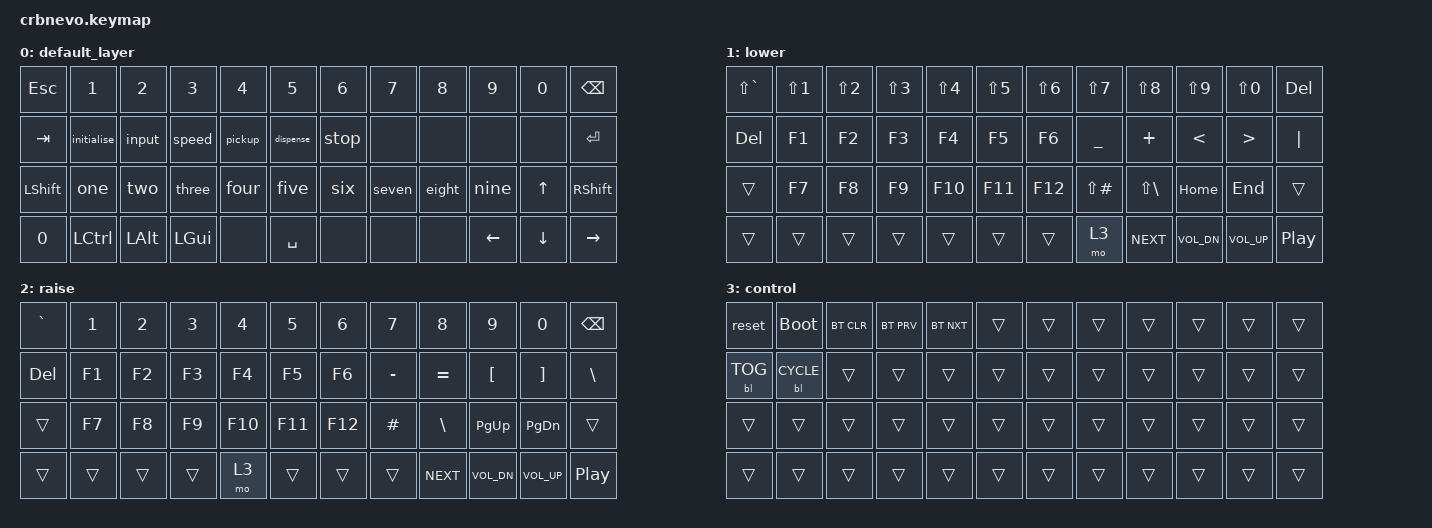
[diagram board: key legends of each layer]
/*
 * Copyright (c) 2020 The ZMK Contributors
 *
 * SPDX-License-Identifier: MIT
 */

#include <behaviors.dtsi>
#include <dt-bindings/zmk/keys.h>
#include <dt-bindings/zmk/bt.h>
#include <dt-bindings/zmk/backlight.h>

/ {
    macros {
        initialise: initialise {
            compatible = "zmk,behavior-macro";
            label = "new_macro";
            #binding-cells = <0>;
            bindings = <&kp I &kp N &kp I &kp T &kp I &kp A &kp L &kp I &kp S &kp E &kp ENTER>;
        };
        input: input {
            compatible = "zmk,behavior-macro";
            label = "new_macro1";
            #binding-cells = <0>;
            bindings = <&kp I &kp N &kp P &kp U &kp T &kp ENTER>;
        };
        speed: speed {
            compatible = "zmk,behavior-macro";
            label = "new_macro2";
            #binding-cells = <0>;
            bindings = <&kp S &kp P &kp E &kp E &kp D &kp ENTER>;
        };
        pickup: pickup {
            compatible = "zmk,behavior-macro";
            label = "new_macro3";
            #binding-cells = <0>;
            bindings = <&kp P &kp I &kp C &kp K &kp U &kp P &kp ENTER>;
        };
        dispense: dispense {
            compatible = "zmk,behavior-macro";
            label = "new_macro4";
            #binding-cells = <0>;
            bindings = <&kp D &kp I &kp S &kp P &kp E &kp N &kp S &kp E &kp ENTER>;
        };
        stop: stop {
            compatible = "zmk,behavior-macro";
            label = "new_macro5";
            #binding-cells = <0>;
            bindings = <&kp T &kp E &kp R &kp M &kp I &kp N &kp A &kp T &kp E &kp ENTER>;
        };
        zero: zero {
            compatible = "zmk,behavior-macro";
            label = "new_macro6";
            #binding-cells = <0>;
            bindings = <&kp NUMBER_0 &kp ENTER>;
        };
        one: one {
            compatible = "zmk,behavior-macro";
            label = "new_macro7";
            #binding-cells = <0>;
            bindings = <&kp NUMBER_1 &kp ENTER>;
        };
        two: two {
            compatible = "zmk,behavior-macro";
            label = "new_macro8";
            #binding-cells = <0>;
            bindings = <&kp NUMBER_2 &kp ENTER>;
        };
        three: three {
            compatible = "zmk,behavior-macro";
            label = "new_macro9";
            #binding-cells = <0>;
            bindings = <&kp NUMBER_3 &kp ENTER>;
        };
        four: four {
            compatible = "zmk,behavior-macro";
            label = "new_macro10";
            #binding-cells = <0>;
            bindings = <&kp NUMBER_4 &kp ENTER>;
        };
        five: five {
            compatible = "zmk,behavior-macro";
            label = "new_macro11";
            #binding-cells = <0>;
            bindings = <&kp NUMBER_5 &kp ENTER>;
        };
        six: six {
            compatible = "zmk,behavior-macro";
            label = "new_macro12";
            #binding-cells = <0>;
            bindings = <&kp NUMBER_6 &kp ENTER>;
        };
        seven: seven {
            compatible = "zmk,behavior-macro";
            label = "new_macro13";
            #binding-cells = <0>;
            bindings = <&kp NUMBER_7 &kp ENTER>;
        };
        eight: eight {
            compatible = "zmk,behavior-macro";
            label = "new_macro14";
            #binding-cells = <0>;
            bindings = <&kp NUMBER_8 &kp ENTER>;
        };
        nine: nine {
            compatible = "zmk,behavior-macro";
            label = "new_macro15";
            #binding-cells = <0>;
            bindings = <&kp NUMBER_9 &kp ENTER>;
        };
    };

    keymap {
        compatible = "zmk,keymap";

        default_layer {
            // -----------------------------------------------------------------------------------------
            // |  TAB  |  Q   |  W   |  E   |  R   |  T   |   Y   |  U    |  I   |  O   |   P   | BSPC  |
            // |  ESC  |  A   |  S   |  D   |  F   |  G   |   H   |  J    |  K   |  L   |   ;   |  '    |
            // | SHIFT |  Z   |  X   |  C   |  V   |  B   |   N   |  M    |  ,   |  .   |   /   |  RET  |
            // | FN    | LGUI | LALT | LCTL | LOWR |     SPACE    |  RAIS | LARW | DARW | UARW  |  RARW |

            bindings = <
  &kp ESC  &kp NUMBER_1  &kp NUMBER_2  &kp NUMBER_3  &kp NUMBER_4  &kp NUMBER_5  &kp NUMBER_6  &kp NUMBER_7  &kp NUMBER_8  &kp NUMBER_9  &kp NUMBER_0         &kp BSPC
  &kp TAB   &initialise        &input        &speed       &pickup     &dispense         &stop         &none         &none         &none         &none        &kp ENTER
&kp LSHFT          &one          &two        &three         &four         &five          &six        &seven        &eight         &nine        &kp UP  &kp RIGHT_SHIFT
    &kp 0     &kp LCTRL      &kp LALT      &kp LGUI         &none     &kp SPACE         &none         &none         &none      &kp LEFT      &kp DOWN        &kp RIGHT
            >;
        };

        lower {
            bindings = <
&kp LS(GRAVE)  &kp LS(N1)  &kp LS(N2)  &kp LS(N3)  &kp LS(N4)  &kp LS(N5)  &kp LS(N6)    &kp LS(N7)    &kp LS(N8)    &kp LS(N9)    &kp LS(N0)   &kp DEL
      &kp DEL      &kp F1      &kp F2      &kp F3      &kp F4      &kp F5      &kp F6     &kp UNDER      &kp PLUS        &kp LT        &kp GT  &kp PIPE
       &trans      &kp F7      &kp F8      &kp F9     &kp F10     &kp F11     &kp F12  &kp LS(HASH)  &kp LS(BSLH)      &kp HOME       &kp END    &trans
       &trans      &trans      &trans      &trans      &trans      &trans      &trans         &mo 3    &kp C_NEXT  &kp C_VOL_DN  &kp C_VOL_UP  &kp C_PP
            >;
        };

        raise {
            bindings = <
&kp GRAVE  &kp N1  &kp N2  &kp N3   &kp N4   &kp N5   &kp N6     &kp N7      &kp N8        &kp N9        &kp N0  &kp BSPC
  &kp DEL  &kp F1  &kp F2  &kp F3   &kp F4   &kp F5   &kp F6  &kp MINUS   &kp EQUAL      &kp LBKT      &kp RBKT  &kp BSLH
   &trans  &kp F7  &kp F8  &kp F9  &kp F10  &kp F11  &kp F12   &kp HASH    &kp BSLH     &kp PG_UP     &kp PG_DN    &trans
   &trans  &trans  &trans  &trans    &mo 3   &trans   &trans     &trans  &kp C_NEXT  &kp C_VOL_DN  &kp C_VOL_UP  &kp C_PP
            >;
        };

        control {
            bindings = <
    &reset   &bootloader  &bt BT_CLR  &bt BT_PRV  &bt BT_NXT  &trans  &trans  &trans  &trans  &trans  &trans  &trans
&bl BL_TOG  &bl BL_CYCLE      &trans      &trans      &trans  &trans  &trans  &trans  &trans  &trans  &trans  &trans
    &trans        &trans      &trans      &trans      &trans  &trans  &trans  &trans  &trans  &trans  &trans  &trans
    &trans        &trans      &trans      &trans      &trans  &trans  &trans  &trans  &trans  &trans  &trans  &trans
            >;
        };
    };
};
